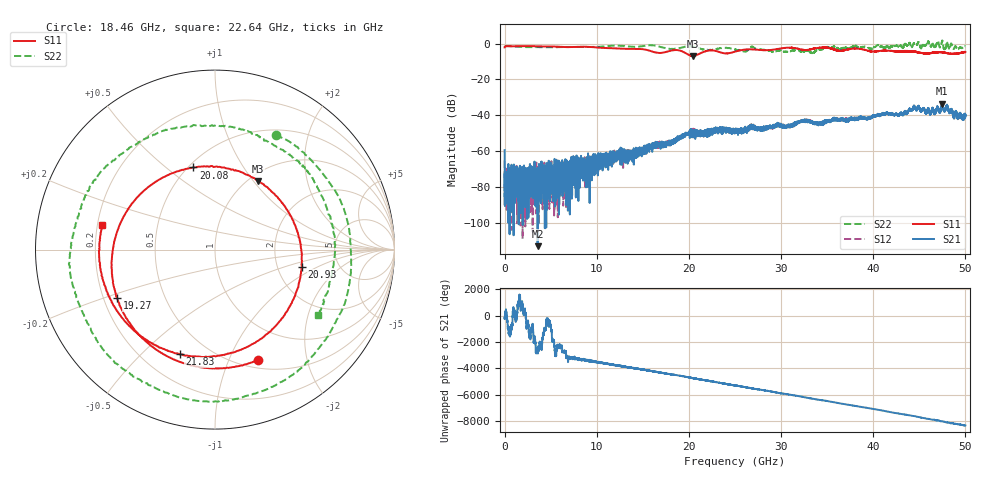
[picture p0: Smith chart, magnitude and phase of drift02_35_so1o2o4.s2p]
!Created with skrf (http://scikit-rf.org).
# Hz S RI R 50.0
!freq ReS11 ImS11 ReS21 ImS21 ReS12 ImS12 ReS22 ImS22
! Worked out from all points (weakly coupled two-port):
!   10001 points, 300 kHz to 50 GHz, reference 50 ohm
!   highest |S21| = -33.55 dB at 47.49 GHz (marker M1); lowest = -113.1 dB at 3.585 GHz (marker M2)
!   lowest |S11| = -6.9 dB at 20.41 GHz (marker M3), VSWR 2.64, Z = 55.2 + j52.8 ohm
!   |S11| at or under -10 dB: nowhere
!   |S22| runs from -5.3 to 1.8 dB; largest |S21 - S12| = 0.0035
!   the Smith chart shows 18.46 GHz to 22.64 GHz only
!   S11 on the Smith chart (normalised r, x): 18.46 GHz: 0.59, -1.28; 19.27 GHz: 0.26, -0.22; 20.08 GHz: 0.53, +0.62; 20.93 GHz: 2.74, -0.69; 21.83 GHz: 0.35, -0.66; 22.64 GHz: 0.22, +0.10
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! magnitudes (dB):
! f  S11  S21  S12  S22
! 300 kHz  -2.1  -59.5  -65.5  -1.3
! 255.3 MHz  -1.4  -81.1  -81.8  -1.4
! 3.585 GHz  -1.5  -113.1  -69.8  -2.0
! 3.91 GHz  -1.6  -73.3  -79.0  -2.0
! 4.41 GHz  -1.6  -74.1  -80.5  -2.0
! 6.71 GHz  -1.9  -72.1  -76.8  -1.9
! 8.335 GHz  -1.7  -71.2  -69.6  -1.9
! 16.67 GHz  -5.2  -55.7  -57.2  -1.5
! 18.46 GHz  -3.6  -54.0  -54.0  -2.8
! 19.27 GHz  -4.3  -51.3  -52.2  -2.1
! 20.08 GHz  -6.5  -50.2  -49.8  -1.5
! 20.41 GHz  -6.9  -49.8  -49.1  -1.8
! 20.93 GHz  -6.2  -50.5  -50.1  -2.2
! 21.83 GHz  -4.2  -50.6  -50.1  -3.5
! 22.64 GHz  -3.8  -49.5  -49.3  -3.4
! 25 GHz  -4.5  -49.9  -48.5  -3.2
! 26.9 GHz  -3.2  -46.5  -46.5  -1.7
! 33.34 GHz  -3.0  -43.9  -43.8  -5.2
! 34.89 GHz  -2.2  -43.0  -43.6  -2.2
! 41.67 GHz  -3.9  -39.2  -39.6  -2.1
! 47.49 GHz  -4.8  -33.6  -33.6  1.8
! 50 GHz  -4.7  -39.8  -40.6  -1.5
